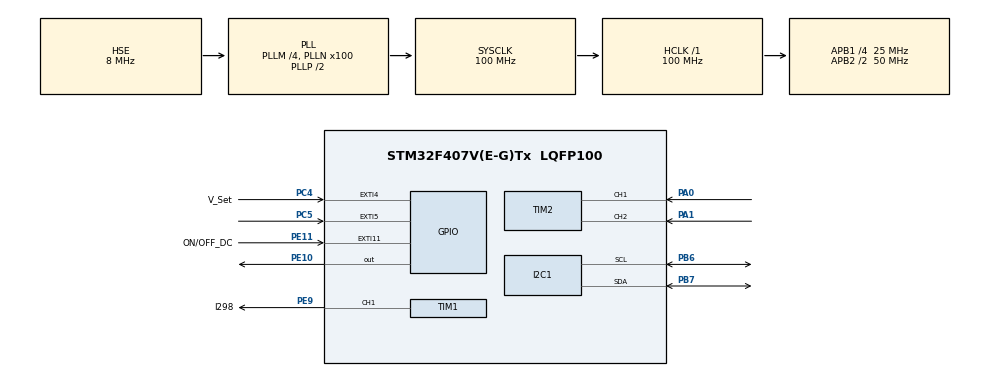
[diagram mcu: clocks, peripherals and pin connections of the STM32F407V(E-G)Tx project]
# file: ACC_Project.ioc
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Mcu.Family=STM32F4
Mcu.Name=STM32F407V(E-G)Tx
Mcu.Package=LQFP100
NVIC.EXTI4_IRQn=true\:4\:0\:true\:false\:true\:true\:true\:true
NVIC.EXTI9_5_IRQn=true\:2\:0\:true\:false\:true\:true\:true\:true
NVIC.PriorityGroup=NVIC_PRIORITYGROUP_4
NVIC.TIM5_IRQn=true\:0\:0\:false\:false\:true\:true\:true\:true
PA0-WKUP.Signal=S_TIM2_CH1_ETR
PA1.Signal=S_TIM2_CH2
PA13.Mode=Serial_Wire
PA13.Signal=SYS_JTMS-SWDIO
PA14.Mode=Serial_Wire
PA14.Signal=SYS_JTCK-SWCLK
PB6.Mode=I2C
PB6.Signal=I2C1_SCL
PB7.Mode=I2C
PB7.Signal=I2C1_SDA
PC4.GPIO_Label=V_Set
PC4.GPIO_PuPd=GPIO_PULLUP
PC4.Signal=GPXTI4
PC5.GPIO_PuPd=GPIO_PULLUP
PC5.Signal=GPXTI5
PE10.Signal=GPIO_Output
PE11.GPIO_Label=ON/OFF_DC
PE11.GPIO_PuPd=GPIO_PULLUP
PE11.Signal=GPXTI11
PE9.GPIO_Label=l298
PE9.Signal=S_TIM1_CH1
PH0-OSC_IN.Mode=HSE-External-Oscillator
PH0-OSC_IN.Signal=RCC_OSC_IN
PH1-OSC_OUT.Mode=HSE-External-Oscillator
PH1-OSC_OUT.Signal=RCC_OSC_OUT
ProjectManager.HeapSize=0x200
ProjectManager.StackSize=0x400
ProjectManager.TargetToolchain=STM32CubeIDE
RCC.48MHZClocksFreq_Value=50000000
RCC.AHBFreq_Value=100000000
RCC.APB1CLKDivider=RCC_HCLK_DIV4
RCC.APB1Freq_Value=25000000
RCC.APB1TimFreq_Value=50000000
RCC.APB2CLKDivider=RCC_HCLK_DIV2
RCC.APB2Freq_Value=50000000
RCC.APB2TimFreq_Value=100000000
RCC.CortexFreq_Value=100000000
RCC.HCLKFreq_Value=100000000
RCC.HSE_VALUE=8000000
RCC.HSI_VALUE=16000000
RCC.LSE_VALUE=32768
RCC.PLLM=4
RCC.PLLN=100
RCC.PLLSourceVirtual=RCC_PLLSOURCE_HSE
RCC.SYSCLKFreq_VALUE=100000000
RCC.SYSCLKSource=RCC_SYSCLKSOURCE_PLLCLK
RCC.VCOOutputFreq_Value=200000000
SH.S_TIM1_CH1.0=TIM1_CH1,PWM Generation1 CH1
SH.S_TIM2_CH1_ETR.0=TIM2_CH1,Encoder_Interface
SH.S_TIM2_CH2.0=TIM2_CH2,Encoder_Interface
TIM1.Channel-PWM\ Generation1\ CH1=TIM_CHANNEL_1
TIM1.Period=999
TIM1.Prescaler=0
TIM2.EncoderMode=TIM_ENCODERMODE_TI12
TIM5.Period=100-1
TIM5.Prescaler=50000-1
VP_TIM5_VS_ClockSourceINT.Mode=Internal
board=custom

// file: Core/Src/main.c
/* USER CODE BEGIN Header */
/**
  ******************************************************************************
  * @file           : main.c
  * @brief          : Main program body
  ******************************************************************************
  * @attention
  *
  * Copyright (c) 2023 STMicroelectronics.
  * All rights reserved.
  *
  * This software is licensed under terms that can be found in the LICENSE file
  * in the root directory of this software component.
  * If no LICENSE file comes with this software, it is provided AS-IS.
  *
  ******************************************************************************
  */
/* USER CODE END Header */
#include "main.h"
#include "i2c.h"
#include "tim.h"
#include "gpio.h"

/* USER CODE BEGIN Includes */
#include "math.h"
#include "pid.h"
#include <stdio.h>
/* USER CODE END Includes */

/* USER CODE BEGIN PTD */
extern uint8_t  V_Set;
extern volatile float RPM;
extern int Speed_km_h;
/* USER CODE END PTD */

/* USER CODE BEGIN PV */

	void display(float rpm,int speed){
		char Buffer[4] = {0};
		sprintf(Buffer[0],"RPM %d V/M ", rpm);
		sprintf(Buffer[1],"Speed %d KM/H", speed);
		lcd_put_cur(0,0);
		lcd_send_string(Buffer[0]);
		lcd_put_cur(1,0);
		lcd_send_string(Buffer[1]);
	}
/* USER CODE END PV */

void SystemClock_Config(void);

int main(void)
{

  /* MCU Configuration--------------------------------------------------------*/

  /* Reset of all peripherals, Initializes the Flash interface and the Systick. */
  HAL_Init();

  /* Configure the system clock */
  SystemClock_Config();

  /* Initialize all configured peripherals */
  MX_GPIO_Init();
  MX_I2C1_Init();
  MX_TIM1_Init();
  MX_TIM2_Init();
  MX_TIM5_Init();
  /* USER CODE BEGIN 2 */
  HAL_TIM_PWM_Start(&htim1, TIM_CHANNEL_1);
  HAL_TIM_Encoder_Start(&htim2,TIM_CHANNEL_1 | TIM_CHANNEL_2);
  HAL_TIM_Base_Start_IT(&htim5);
  lcd_init();

  /* USER CODE END 2 */

  /* Infinite loop */
  while (1)
  {
	  calculate_pid(V_Set, RPM);
	  display(RPM,Speed_km_h);
  }
}

void SystemClock_Config(void)
{
  RCC_OscInitTypeDef RCC_OscInitStruct = {0};
  RCC_ClkInitTypeDef RCC_ClkInitStruct = {0};

  /** Configure the main internal regulator output voltage
  */
  __HAL_RCC_PWR_CLK_ENABLE();
  __HAL_PWR_VOLTAGESCALING_CONFIG(PWR_REGULATOR_VOLTAGE_SCALE1);

  /** Initializes the RCC Oscillators according to the specified parameters
  * in the RCC_OscInitTypeDef structure.
  */
  RCC_OscInitStruct.OscillatorType = RCC_OSCILLATORTYPE_HSE;
  RCC_OscInitStruct.HSEState = RCC_HSE_ON;
  RCC_OscInitStruct.PLL.PLLState = RCC_PLL_ON;
  RCC_OscInitStruct.PLL.PLLSource = RCC_PLLSOURCE_HSE;
  RCC_OscInitStruct.PLL.PLLM = 4;
  RCC_OscInitStruct.PLL.PLLN = 100;
  RCC_OscInitStruct.PLL.PLLP = RCC_PLLP_DIV2;
  RCC_OscInitStruct.PLL.PLLQ = 4;
  if (HAL_RCC_OscConfig(&RCC_OscInitStruct) != HAL_OK)
  {
    Error_Handler();
  }

  /** Initializes the CPU, AHB and APB buses clocks
  */
  RCC_ClkInitStruct.ClockType = RCC_CLOCKTYPE_HCLK|RCC_CLOCKTYPE_SYSCLK
                              |RCC_CLOCKTYPE_PCLK1|RCC_CLOCKTYPE_PCLK2;
  RCC_ClkInitStruct.SYSCLKSource = RCC_SYSCLKSOURCE_PLLCLK;
  RCC_ClkInitStruct.AHBCLKDivider = RCC_SYSCLK_DIV1;
  RCC_ClkInitStruct.APB1CLKDivider = RCC_HCLK_DIV4;
  RCC_ClkInitStruct.APB2CLKDivider = RCC_HCLK_DIV2;

  if (HAL_RCC_ClockConfig(&RCC_ClkInitStruct, FLASH_LATENCY_3) != HAL_OK)
  {
    Error_Handler();
  }
}

void Error_Handler(void)
{
  __disable_irq();
  while (1)
  {
  }
}
